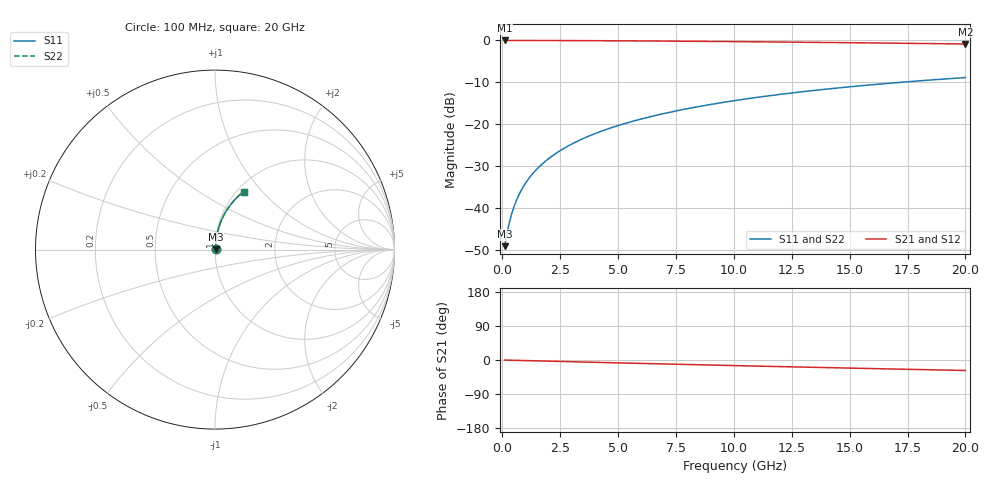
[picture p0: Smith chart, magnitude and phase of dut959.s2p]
! Touchstone file exported from HFSS 2024.1.0
!  File:  C:/UserFiles/LocalFiles/RDL_TSV_Batchsim/temp_RDL_bottom_959_1779942558.aedt
!  Generated:  12:31:58 PM May 28, 2026
!  Design:  RDL_bottom
!  Project:  temp_RDL_bottom_959_1779942558
!  Setup:  Setup1
!  Solution:  Sweep
! Variables:
!  dtsv = 10.80580581um
!  hbump = 3um
!  htsv = 64.67um
!  ldown = 300.99um
!  lrdl = 100um
!  p = 40
!  p1 = 52.65um
!  rhole = 1um
!  t = 450um
!  tdown = 3.62um
!  trdl = 3.915915916um
!  wdown = 10.6um
!  wrdl = 20um
# GHz S MA R 50.000000
! Terminal data exported
! Port[1] = RDL1_T1
! Port[2] = RDL1_T2
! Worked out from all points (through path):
!   200 points, 100 MHz to 20 GHz, reference 50 ohm
!   highest |S21| = -0.03 dB at 100 MHz (marker M1); lowest = -0.9 dB at 20 GHz (marker M2)
!   group delay of S21, straight-line fit = 3.83 ps
!   lowest |S11| = -49.1 dB at 100 MHz (marker M3), VSWR 1.01, Z = 50.3 + j0.198 ohm
!   |S11| at or under -10 dB: start of sweep to 17.24 GHz
!   |S22| runs from -49.1 to -8.9 dB; largest |S21 - S12| = 4.3e-15
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0.1  0.003491 34.4  0.9971 -0.2  0.9971 -0.2  0.003491 34.4
! Gamma 0 0 0 0
! Port Impedance 50 0 50 0
0.2  0.004901 53.5  0.9971 -0.3  0.9971 -0.3  0.004901 53.5
0.3  0.0066 63.2  0.997 -0.5  0.997 -0.5  0.0066 63.2
0.4  0.008403 68.8  0.997 -0.6  0.997 -0.6  0.008403 68.8
0.5  0.01025 72.3  0.9969 -0.8  0.9969 -0.8  0.01025 72.3
0.6  0.01212 74.7  0.9968 -0.9  0.9968 -0.9  0.01212 74.7
0.8  0.01588 77.8  0.9967 -1.2  0.9967 -1.2  0.01588 77.8
1.1  0.02155 80.2  0.9964 -1.7  0.9964 -1.7  0.02155 80.2
1.5  0.02916 81.8  0.9959 -2.3  0.9959 -2.3  0.02916 81.8
1.8  0.03488 82.5  0.9956 -2.8  0.9956 -2.8  0.03488 82.5
2.1  0.04062 82.8  0.9951 -3.2  0.9951 -3.2  0.04062 82.8
2.7  0.0521 83.1  0.994 -4.2  0.994 -4.2  0.0521 83.1
3.5  0.06742 82.8  0.9922 -5.4  0.9922 -5.4  0.06742 82.8
4.2  0.08082 82.4  0.9903 -6.4  0.9903 -6.4  0.08082 82.4
5  0.09612 81.7  0.9878 -7.6  0.9878 -7.6  0.09612 81.7
5.9  0.1133 80.9  0.9846 -8.9  0.9846 -8.9  0.1133 80.9
6.8  0.1304 79.9  0.9811 -10.2  0.9811 -10.2  0.1304 79.9
8.3  0.1586 78.2  0.9745 -12.4  0.9745 -12.4  0.1586 78.2
10.1  0.1921 76.0  0.9656 -14.9  0.9656 -14.9  0.1921 76.0
13.4  0.2514 71.9  0.9474 -19.3  0.9474 -19.3  0.2514 71.9
16.7  0.3074 67.8  0.9271 -23.6  0.9271 -23.6  0.3074 67.8
20  0.3596 63.8  0.9053 -27.6  0.9053 -27.6  0.3596 63.8
